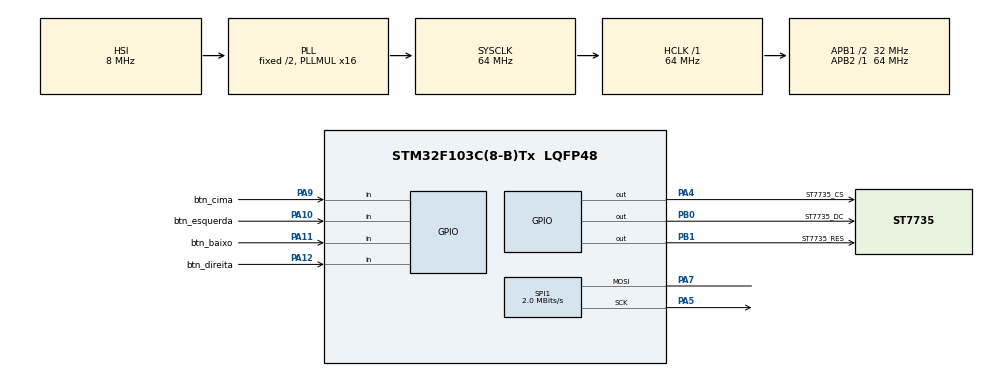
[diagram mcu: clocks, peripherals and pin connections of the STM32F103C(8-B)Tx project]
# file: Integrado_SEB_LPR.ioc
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Mcu.Family=STM32F1
Mcu.Name=STM32F103C(8-B)Tx
Mcu.Package=LQFP48
NVIC.PriorityGroup=NVIC_PRIORITYGROUP_4
PA10.GPIO_Label=btn_esquerda
PA10.Signal=GPIO_Input
PA11.GPIO_Label=btn_baixo
PA11.Signal=GPIO_Input
PA12.GPIO_Label=btn_direita
PA12.Signal=GPIO_Input
PA13.Mode=Serial_Wire
PA13.Signal=SYS_JTMS-SWDIO
PA14.Mode=Serial_Wire
PA14.Signal=SYS_JTCK-SWCLK
PA4.GPIO_Label=ST7735_CS
PA4.Signal=GPIO_Output
PA5.Mode=Simplex_Bidirectional_Master
PA5.Signal=SPI1_SCK
PA7.Mode=Simplex_Bidirectional_Master
PA7.Signal=SPI1_MOSI
PA9.GPIO_Label=btn_cima
PA9.Signal=GPIO_Input
PB0.GPIO_Label=ST7735_DC
PB0.Signal=GPIO_Output
PB1.GPIO_Label=ST7735_RES
PB1.Signal=GPIO_Output
ProjectManager.HeapSize=0x200
ProjectManager.StackSize=0x400
ProjectManager.TargetToolchain=STM32CubeIDE
RCC.AHBFreq_Value=64000000
RCC.APB1CLKDivider=RCC_HCLK_DIV2
RCC.APB1Freq_Value=32000000
RCC.APB1TimFreq_Value=64000000
RCC.APB2Freq_Value=64000000
RCC.APB2TimFreq_Value=64000000
RCC.HCLKFreq_Value=64000000
RCC.PLLMUL=RCC_PLL_MUL16
RCC.SYSCLKFreq_VALUE=64000000
RCC.SYSCLKSource=RCC_SYSCLKSOURCE_PLLCLK
RCC.USBFreq_Value=64000000
SPI1.BaudRatePrescaler=SPI_BAUDRATEPRESCALER_32
SPI1.CalculateBaudRate=2.0 MBits/s
SPI1.Direction=SPI_DIRECTION_1LINE
SPI1.Mode=SPI_MODE_MASTER
SPI1.VirtualType=VM_MASTER
board=custom

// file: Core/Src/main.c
/* USER CODE BEGIN Header */
/**
  ******************************************************************************
  * @file           : main.c
  * @brief          : Main program body
  ******************************************************************************
  * @attention
  *
  * <h2><center>&copy; Copyright (c) 2025 STMicroelectronics.
  * All rights reserved.</center></h2>
  *
  * This software component is licensed by ST under BSD 3-Clause license,
  * the "License"; You may not use this file except in compliance with the
  * License. You may obtain a copy of the License at:
  *                        opensource.org/licenses/BSD-3-Clause
  *
  ******************************************************************************
  */
/* USER CODE END Header */
#include "main.h"

/* USER CODE BEGIN Includes */
#include "st7735\st7735.h"
/* USER CODE END Includes */

SPI_HandleTypeDef hspi1;

/* USER CODE BEGIN PV */

//Matriz do jogo
int matriz [2][2] = {
		{1, 1},
		{2, 2}
};

//Variável da linha e coluna da matriz
int linha = 0;
int coluna = 0;
int finalizado = 0;
int linhay = -1;
int colunay = -1;

//variáveis da leitura dos botões:
int direita = HAL_GPIO_ReadPin(GPIOA, GPIO_PIN_12);
int esquerda = HAL_GPIO_ReadPin(GPIOA, GPIO_PIN_10);
int cima = HAL_GPIO_ReadPin(GPIOA, GPIO_PIN_9);
int baixo = HAL_GPIO_ReadPin(GPIOA, GPIO_PIN_11);

//carta a decidir a lógica
int carta1V = 0;
int carta2V = 0;

/* USER CODE END PV */

void SystemClock_Config(void);
static void MX_GPIO_Init(void);
static void MX_SPI1_Init(void);

int main(void)
{

  /* MCU Configuration--------------------------------------------------------*/

  /* Reset of all peripherals, Initializes the Flash interface and the Systick. */
  HAL_Init();

  /* Configure the system clock */
  SystemClock_Config();

  /* Initialize all configured peripherals */
  MX_GPIO_Init();
  MX_SPI1_Init();
  /* USER CODE BEGIN 2 */
  ST7735_Init();
  /* USER CODE END 2 */

  /* Infinite loop */
  /* USER CODE BEGIN WHILE */
  while (1)
  {
	  IniciarJogo();
	  // Função de navegar cursor

	  //Função de selecionar carta

	  //comparar pares

    /* USER CODE END WHILE */

  }
}

void SystemClock_Config(void)
{
  RCC_OscInitTypeDef RCC_OscInitStruct = {0};
  RCC_ClkInitTypeDef RCC_ClkInitStruct = {0};

  /** Initializes the RCC Oscillators according to the specified parameters
  * in the RCC_OscInitTypeDef structure.
  */
  RCC_OscInitStruct.OscillatorType = RCC_OSCILLATORTYPE_HSI;
  RCC_OscInitStruct.HSIState = RCC_HSI_ON;
  RCC_OscInitStruct.HSICalibrationValue = RCC_HSICALIBRATION_DEFAULT;
  RCC_OscInitStruct.PLL.PLLState = RCC_PLL_ON;
  RCC_OscInitStruct.PLL.PLLSource = RCC_PLLSOURCE_HSI_DIV2;
  RCC_OscInitStruct.PLL.PLLMUL = RCC_PLL_MUL16;
  if (HAL_RCC_OscConfig(&RCC_OscInitStruct) != HAL_OK)
  {
    Error_Handler();
  }
  /** Initializes the CPU, AHB and APB buses clocks
  */
  RCC_ClkInitStruct.ClockType = RCC_CLOCKTYPE_HCLK|RCC_CLOCKTYPE_SYSCLK
                              |RCC_CLOCKTYPE_PCLK1|RCC_CLOCKTYPE_PCLK2;
  RCC_ClkInitStruct.SYSCLKSource = RCC_SYSCLKSOURCE_PLLCLK;
  RCC_ClkInitStruct.AHBCLKDivider = RCC_SYSCLK_DIV1;
  RCC_ClkInitStruct.APB1CLKDivider = RCC_HCLK_DIV2;
  RCC_ClkInitStruct.APB2CLKDivider = RCC_HCLK_DIV1;

  if (HAL_RCC_ClockConfig(&RCC_ClkInitStruct, FLASH_LATENCY_2) != HAL_OK)
  {
    Error_Handler();
  }
}

static void MX_SPI1_Init(void)
{

  /* SPI1 parameter configuration*/
  hspi1.Instance = SPI1;
  hspi1.Init.Mode = SPI_MODE_MASTER;
  hspi1.Init.Direction = SPI_DIRECTION_1LINE;
  hspi1.Init.DataSize = SPI_DATASIZE_8BIT;
  hspi1.Init.CLKPolarity = SPI_POLARITY_LOW;
  hspi1.Init.CLKPhase = SPI_PHASE_1EDGE;
  hspi1.Init.NSS = SPI_NSS_SOFT;
  hspi1.Init.BaudRatePrescaler = SPI_BAUDRATEPRESCALER_32;
  hspi1.Init.FirstBit = SPI_FIRSTBIT_MSB;
  hspi1.Init.TIMode = SPI_TIMODE_DISABLE;
  hspi1.Init.CRCCalculation = SPI_CRCCALCULATION_DISABLE;
  hspi1.Init.CRCPolynomial = 10;
  if (HAL_SPI_Init(&hspi1) != HAL_OK)
  {
    Error_Handler();
  }

}

static void MX_GPIO_Init(void)
{
  GPIO_InitTypeDef GPIO_InitStruct = {0};

  /* GPIO Ports Clock Enable */
  __HAL_RCC_GPIOA_CLK_ENABLE();
  __HAL_RCC_GPIOB_CLK_ENABLE();

  /*Configure GPIO pin Output Level */
  HAL_GPIO_WritePin(ST7735_CS_GPIO_Port, ST7735_CS_Pin, GPIO_PIN_RESET);

  /*Configure GPIO pin Output Level */
  HAL_GPIO_WritePin(GPIOB, ST7735_DC_Pin|ST7735_RES_Pin, GPIO_PIN_RESET);

  /*Configure GPIO pin : ST7735_CS_Pin */
  GPIO_InitStruct.Pin = ST7735_CS_Pin;
  GPIO_InitStruct.Mode = GPIO_MODE_OUTPUT_PP;
  GPIO_InitStruct.Pull = GPIO_NOPULL;
  GPIO_InitStruct.Speed = GPIO_SPEED_FREQ_LOW;
  HAL_GPIO_Init(ST7735_CS_GPIO_Port, &GPIO_InitStruct);

  /*Configure GPIO pins : ST7735_DC_Pin ST7735_RES_Pin */
  GPIO_InitStruct.Pin = ST7735_DC_Pin|ST7735_RES_Pin;
  GPIO_InitStruct.Mode = GPIO_MODE_OUTPUT_PP;
  GPIO_InitStruct.Pull = GPIO_NOPULL;
  GPIO_InitStruct.Speed = GPIO_SPEED_FREQ_LOW;
  HAL_GPIO_Init(GPIOB, &GPIO_InitStruct);

  /*Configure GPIO pins : btn_cima_Pin btn_esquerda_Pin btn_baixo_Pin btn_direita_Pin */
  GPIO_InitStruct.Pin = btn_cima_Pin|btn_esquerda_Pin|btn_baixo_Pin|btn_direita_Pin;
  GPIO_InitStruct.Mode = GPIO_MODE_INPUT;
  GPIO_InitStruct.Pull = GPIO_NOPULL;
  HAL_GPIO_Init(GPIOA, &GPIO_InitStruct);

}

/* USER CODE BEGIN 4 */
void IniciarJogo(void){

	if (direita == 1){

		GerarParesAleatorios();

	}else if(esquerda == 1){
		//mostrar o recorde
		if(esquerda == 1)
		{

		}

	}

}
int GerarParesAleatorios(){
	//gera pares e chama navegar cursor

	NavegarCursor();
}
int CompararPares(int ValorC1 = 0, int ValorC2 = 0, int linhax, int colunax, int linhay, int colunay){

// receber o valor da posição e guardar numa variável global, quando preencher a segunda carta ele compara
	  if ( (ValorC1 != 0 && ValorC2 != 0) && (ValorC1 == ValorC2) ){
//
		  matriz[linhax][colunax] = 9;
		  matriz[linhay][colunay] = 9;
		  finalizado = 1;

	  }else{

		  NavegarCursor();

	  }

}

int SelecionarCarta(int linhax, int colunax, int cartaselec){
	if (cartaselec == 1){

		linhay = linhax;
		colunay = colunax;

		return matriz [linhax][colunax];

	}else{//foi selecionado só a primeira carta

		carta2V = matriz [linhax][colunax];

		CompararPares(carta1V, carta2V, linhax, colunax, linhay, colunay);

	}

}
void NavegarCursor(void){

	while(carta2V == 0){
	  if (direita == 1 && coluna < 1){

			  coluna++;

	  } else if (esquerda == 1 && coluna > 0){

			  coluna =- 1;

	  }else if (cima == 1 && linha > 0){

			  linha =-1;

	  }else if (baixo == 1 && linha < 1){

			  linha ++;
	  }

	  if (direita == 1 && esquerda == 1 && carta1V == 0 && carta2V == 0){

		  //Aqui chama a função de selecionar as cartas passando a variável de linha e coluna

		  carta1V = SelecionarCarta(linha, coluna, 1); //primeira carta virada vai receber o valor da posição que a pessoa parou na matriz

	  } else if (matriz[linha][coluna] != 9 && direita == 1 && esquerda == 1  && carta2V == 0 && carta1V != 0){

		   SelecionarCarta(linha, coluna, 2);

	  }
	}

}
/* USER CODE END 4 */

void Error_Handler(void)
{
  __disable_irq();
  while (1)
  {
  }
}

/************************ (C) COPYRIGHT STMicroelectronics *****END OF FILE****/
